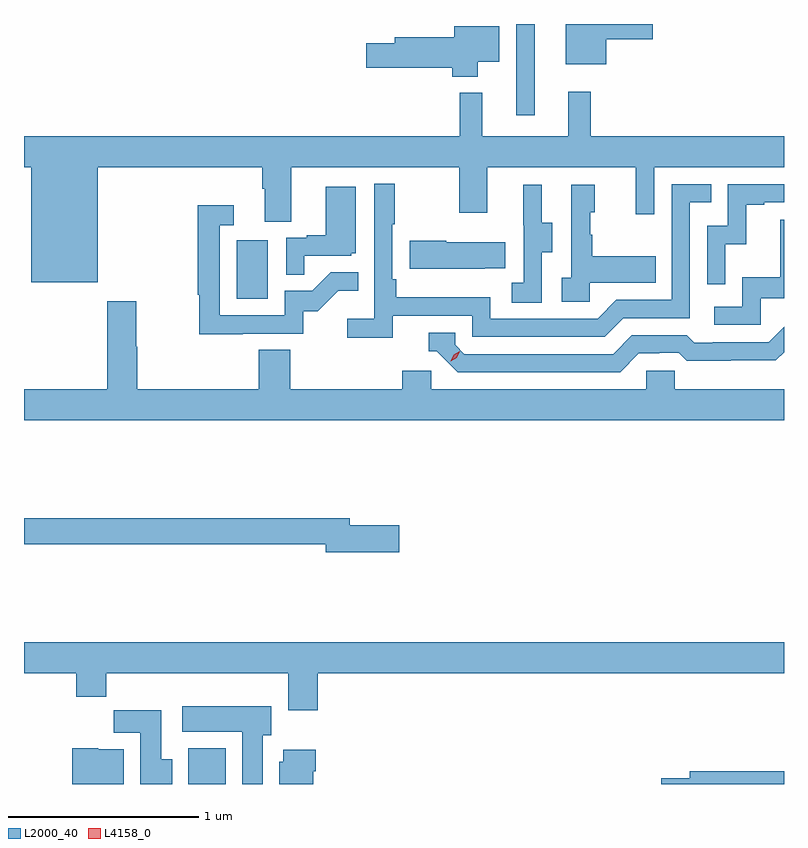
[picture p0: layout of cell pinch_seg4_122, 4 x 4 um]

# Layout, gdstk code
import gdstk
lib = gdstk.Library(unit=1e-6, precision=1e-09)
def R(c, l, rs):  # rectangles x0, y0, x1, y1
    for r in rs: c.add(gdstk.rectangle(r[:2], r[2:], *l))
def P(c, l, *ps):  # polygons
    for p in ps: c.add(gdstk.Polygon(p, *l))
L2000_40 = (2000, 40)
L4158_0 = (4158, 0)

pinch_seg4_122 = lib.new_cell('pinch_seg4_122')
R(pinch_seg4_122, L2000_40, [(1021.319,802.898,1021.516,803.086), (1021.574,805.452,1021.738,805.759), (1023.045,806.418,1023.142,806.898)])
P(pinch_seg4_122, L2000_40, [(1023.52,806.819),(1023.763,806.819),(1023.763,806.898),(1023.305,806.898),(1023.305,806.687),(1023.52,806.687)],
  [(1022.842,806.699),(1022.956,806.699),(1022.956,806.887),(1022.72,806.887),(1022.72,806.827),(1022.405,806.827),(1022.405,806.797),(1022.256,806.797),(1022.256,806.668),(1022.708,806.668),(1022.708,806.621),(1022.842,806.621)],
  [(1020.844,806.144),(1021.709,806.144),(1021.709,806.032),(1021.721,806.032),(1021.721,805.858),(1021.861,805.858),(1021.861,806.144),(1022.746,806.144),(1022.746,805.905),(1022.893,805.905),(1022.893,806.144),(1023.674,806.144),(1023.674,805.896),(1023.771,805.896),(1023.771,806.144),(1024.455,806.144),(1024.455,806.308),(1023.437,806.308),(1023.437,806.542),(1023.32,806.542),(1023.32,806.308),(1022.867,806.308),(1022.867,806.536),(1022.749,806.536),(1022.749,806.308),(1020.455,806.308),(1020.455,806.144),(1020.494,806.144),(1020.494,805.538),(1020.844,805.538)],
  [(1022.396,805.362),(1022.814,805.362),(1022.814,805.251),(1023.511,805.251),(1023.61,805.35),(1023.96,805.35),(1023.96,805.959),(1024.073,805.959),(1024.073,806.055),(1023.864,806.055),(1023.864,805.446),(1023.573,805.446),(1023.474,805.347),(1022.91,805.347),(1022.91,805.459),(1022.414,805.459),(1022.414,805.555),(1022.394,805.555),(1022.394,805.843),(1022.407,805.843),(1022.407,806.056),(1022.298,806.056),(1022.298,805.348),(1022.157,805.348),(1022.157,805.246),(1022.396,805.246)],
  [(1024.146,805.739),(1024.256,805.739),(1024.256,805.947),(1024.351,805.947),(1024.351,805.959),(1024.455,805.959),(1024.455,806.055),(1024.158,806.055),(1024.158,805.836),(1024.05,805.836),(1024.05,805.527),(1024.146,805.527)],
  [(1023.18,805.696),(1023.235,805.696),(1023.235,805.851),(1023.181,805.851),(1023.181,806.053),(1023.083,806.053),(1023.083,805.839),(1023.084,805.839),(1023.084,805.535),(1023.021,805.535),(1023.021,805.432),(1023.18,805.432)],
  [(1023.432,805.535),(1023.779,805.535),(1023.779,805.675),(1023.445,805.675),(1023.445,805.79),(1023.435,805.79),(1023.435,805.908),(1023.46,805.908),(1023.46,806.053),(1023.336,806.053),(1023.336,805.562),(1023.285,805.562),(1023.285,805.437),(1023.432,805.437)],
  [(1021.931,805.677),(1022.178,805.677),(1022.178,805.692),(1022.2,805.692),(1022.2,806.041),(1022.042,806.041),(1022.042,805.786),(1021.943,805.786),(1021.943,805.773),(1021.836,805.773),(1021.836,805.579),(1021.931,805.579)],
  [(1021.607,805.269),(1021.926,805.269),(1021.926,805.386),(1022.002,805.386),(1022.109,805.493),(1022.213,805.493),(1022.213,805.592),(1022.069,805.592),(1021.971,805.494),(1021.827,805.494),(1021.827,805.365),(1021.485,805.365),(1021.485,805.839),(1021.558,805.839),(1021.558,805.945),(1021.369,805.945),(1021.369,805.472),(1021.377,805.472),(1021.377,805.264),(1021.607,805.264)],
  [(1024.332,805.455),(1024.455,805.455),(1024.455,805.867),(1024.435,805.867),(1024.435,805.564),(1024.236,805.564),(1024.236,805.41),(1024.089,805.41),(1024.089,805.314),(1024.332,805.314)],
  [(1022.879,805.613),(1022.987,805.613),(1022.987,805.75),(1022.677,805.75),(1022.677,805.758),(1022.486,805.758),(1022.486,805.61),(1022.879,805.61)],
  [(1024.455,804.976),(1023.879,804.976),(1023.879,805.074),(1023.729,805.074),(1023.729,804.976),(1022.598,804.976),(1022.598,805.074),(1022.447,805.074),(1022.447,804.976),(1021.856,804.976),(1021.856,805.184),(1021.691,805.184),(1021.691,804.976),(1021.052,804.976),(1021.052,805.199),(1021.047,805.199),(1021.047,805.438),(1020.892,805.438),(1020.892,804.976),(1020.455,804.976),(1020.455,804.812),(1024.455,804.812)],
  [(1023.691,805.164),(1023.798,805.164),(1023.798,805.167),(1023.901,805.167),(1023.943,805.125),(1024.176,805.125),(1024.176,805.127),(1024.412,805.127),(1024.455,805.17),(1024.455,805.305),(1024.374,805.224),(1024.081,805.224),(1024.081,805.221),(1023.982,805.221),(1023.943,805.26),(1023.654,805.26),(1023.555,805.161),(1022.772,805.161),(1022.724,805.209),(1022.724,805.272),(1022.585,805.272),(1022.585,805.176),(1022.628,805.176),(1022.739,805.065),(1023.592,805.065)],
  [(1022.431,804.26),(1022.17,804.26),(1022.17,804.296),(1020.455,804.296),(1020.455,804.16),(1022.042,804.16),(1022.042,804.118),(1022.431,804.118)],
  [(1022,803.48),(1024.455,803.48),(1024.455,803.644),(1020.455,803.644),(1020.455,803.48),(1020.731,803.48),(1020.731,803.356),(1020.887,803.356),(1020.887,803.48),(1021.847,803.48),(1021.847,803.286),(1022,803.286)],
  [(1021.711,803.154),(1021.756,803.154),(1021.756,803.308),(1021.287,803.308),(1021.287,803.174),(1021.604,803.174),(1021.604,802.898),(1021.711,802.898)],
  [(1021.234,803.028),(1021.177,803.028),(1021.177,803.287),(1020.928,803.287),(1020.928,803.168),(1021.067,803.168),(1021.067,802.898),(1021.234,802.898)],
  [(1020.979,803.08),(1020.846,803.08),(1020.846,803.086),(1020.71,803.086),(1020.71,802.898),(1020.979,802.898)],
  [(1021.978,802.964),(1021.991,802.964),(1021.991,803.077),(1021.82,803.077),(1021.82,803.016),(1021.799,803.016),(1021.799,802.898),(1021.978,802.898)],
  [(1024.455,802.964),(1023.959,802.964),(1023.959,802.928),(1023.81,802.928),(1023.81,802.898),(1024.455,802.898)])
P(pinch_seg4_122, L4158_0, [(1022.7,805.123),(1022.7,805.124),(1022.717,805.156),(1022.748,805.175),(1022.748,805.175),(1022.748,805.175),(1022.732,805.142),(1022.701,805.123)])

lib.write_gds('pinch_seg4_122.gds')
